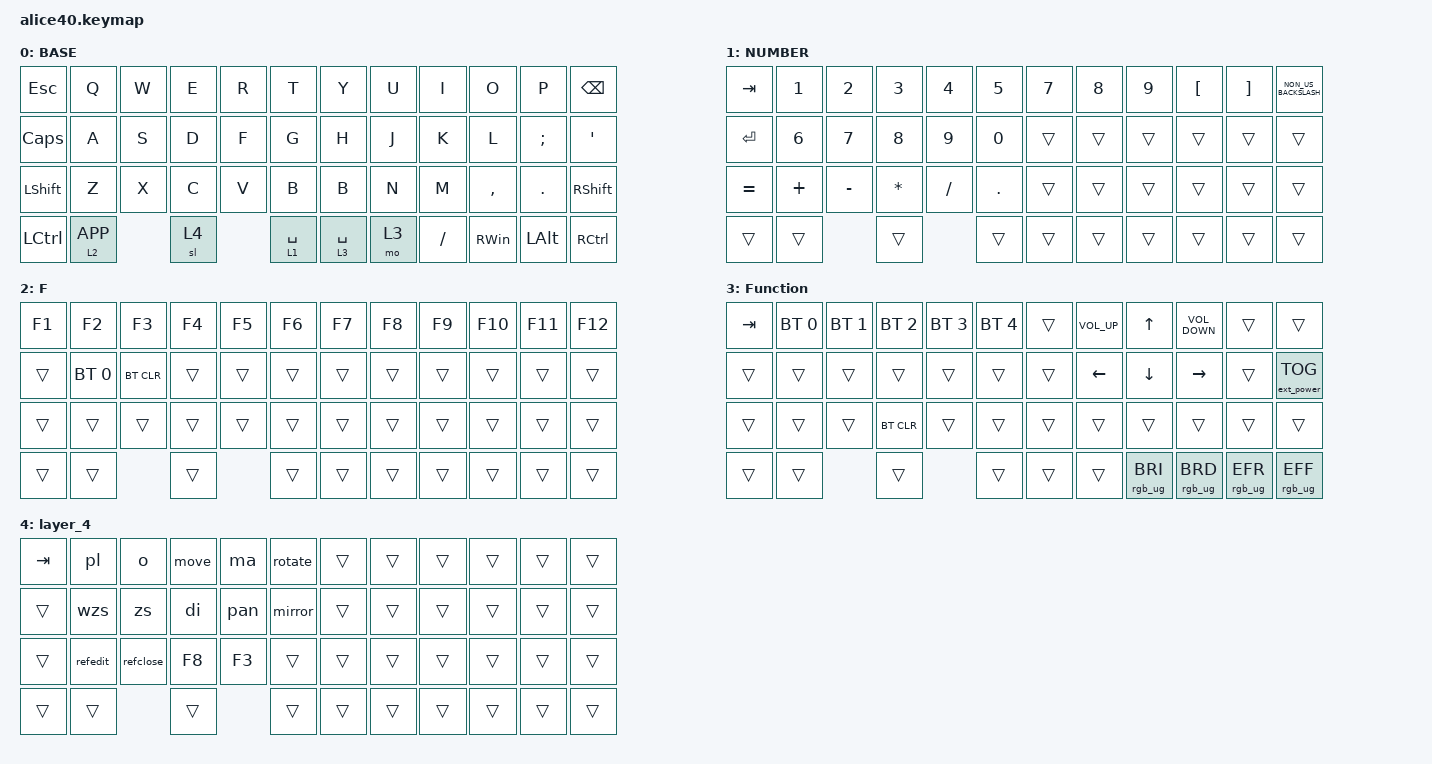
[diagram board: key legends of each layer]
#include <behaviors.dtsi>
#include <dt-bindings/zmk/bt.h>
#include <dt-bindings/zmk/ext_power.h>
#include <dt-bindings/zmk/keys.h>
#include <dt-bindings/zmk/rgb.h>

/ {
    macros {
        pl: pl {
            compatible = "zmk,behavior-macro";
            #binding-cells = <0>;
            bindings = <&kp P &kp L &kp RET>;
            label = "PL";
        };
        o: o {
            compatible = "zmk,behavior-macro";
            #binding-cells = <0>;
            bindings = <&kp O &kp RET>;
            label = "O";
        };
        move: move {
            compatible = "zmk,behavior-macro";
            #binding-cells = <0>;
            bindings = <&kp M &kp RET>;
            label = "MOVE";
        };
        ma: ma {
            compatible = "zmk,behavior-macro";
            #binding-cells = <0>;
            bindings = <&kp M &kp A &kp RET>;
            label = "MA";
        };
        rotate: rotate {
            compatible = "zmk,behavior-macro";
            #binding-cells = <0>;
            bindings = <&kp R &kp O &kp RET>;
            label = "ROTATE";
        };
        wzs: wzs {
            compatible = "zmk,behavior-macro";
            #binding-cells = <0>;
            bindings = <&kp W &kp Z &kp S &kp RET>;
            label = "WZS";
        };
        zs: zs {
            compatible = "zmk,behavior-macro";
            #binding-cells = <0>;
            bindings = <&kp Z &kp S &kp RET>;
            label = "ZS";
        };
        di: di {
            compatible = "zmk,behavior-macro";
            #binding-cells = <0>;
            bindings = <&kp D &kp I &kp RET>;
            label = "DI";
        };
        pan: pan {
            compatible = "zmk,behavior-macro";
            #binding-cells = <0>;
            bindings = <&kp P &kp RET>;
            label = "PAN";
        };
        mirror: mirror {
            compatible = "zmk,behavior-macro";
            #binding-cells = <0>;
            bindings = <&kp M &kp I &kp RET>;
            label = "MIRROR";
        };
        refedit: refedit {
            compatible = "zmk,behavior-macro";
            #binding-cells = <0>;
            bindings = <&kp R &kp E &kp F &kp E &kp D &kp I &kp T &kp RET>;
            label = "REFEDIT";
        };
        refclose: refclose {
            compatible = "zmk,behavior-macro";
            #binding-cells = <0>;
            bindings = <&kp R &kp E &kp F &kp C &kp L &kp O &kp S &kp E &kp RET>;
            label = "REFCLOSE";
        };
    };

    keymap {
        compatible = "zmk,keymap";

        Base_layer {
            label = "BASE";
            bindings = <
&kp ESC       &kp Q        &kp W  &kp E  &kp R  &kp T        &kp Y        &kp U  &kp I      &kp O      &kp P          &kp BACKSPACE
&kp CAPSLOCK  &kp A        &kp S  &kp D  &kp F  &kp G        &kp H        &kp J  &kp K      &kp L      &kp SEMICOLON  &kp SQT
&kp LSHIFT    &kp Z        &kp X  &kp C  &kp V  &kp B        &kp B        &kp N  &kp M      &kp COMMA  &kp DOT        &kp RSHIFT
&kp LCTRL     &lt 2 K_APP         &sl 4         &lt 1 SPACE  &lt 3 SPACE  &mo 3  &kp SLASH  &kp RWIN   &kp LEFT_ALT   &kp RCTRL
            >;
        };

        Number_layer {
            bindings = <
&kp TAB    &kp N1    &kp N2     &kp N3        &kp N4     &kp N5   &kp N7  &kp N8  &kp N9  &kp LEFT_BRACKET  &kp RIGHT_BRACKET  &kp NON_US_BACKSLASH
&kp ENTER  &kp N6    &kp N7     &kp N8        &kp N9     &kp N0   &trans  &trans  &trans  &trans            &trans             &trans
&kp EQUAL  &kp PLUS  &kp MINUS  &kp ASTERISK  &kp SLASH  &kp DOT  &trans  &trans  &trans  &trans            &trans             &trans
&trans     &trans               &trans                   &trans   &trans  &trans  &trans  &trans            &trans             &trans
            >;

            label = "NUMBER";
        };

        F_layer {
            bindings = <
&kp F1  &kp F2        &kp F3      &kp F4  &kp F5  &kp F6  &kp F7  &kp F8  &kp F9  &kp F10  &kp F11  &kp F12
&trans  &bt BT_SEL 0  &bt BT_CLR  &trans  &trans  &trans  &trans  &trans  &trans  &trans   &trans   &trans
&trans  &trans        &trans      &trans  &trans  &trans  &trans  &trans  &trans  &trans   &trans   &trans
&trans  &trans                    &trans          &trans  &trans  &trans  &trans  &trans   &trans   &trans
            >;

            label = "F";
        };

        Function_layer {
            bindings = <
&kp TAB  &bt BT_SEL 0  &bt BT_SEL 1  &bt BT_SEL 2  &bt BT_SEL 3  &bt BT_SEL 4  &trans  &kp C_VOLUME_UP  &kp UP_ARROW     &kp C_VOLUME_DOWN  &trans           &trans
&trans   &trans        &trans        &trans        &trans        &trans        &trans  &kp LEFT         &kp DOWN         &kp RIGHT          &trans           &ext_power EP_TOG
&trans   &trans        &trans        &bt BT_CLR    &trans        &trans        &trans  &trans           &trans           &trans             &trans           &trans
&trans   &trans                      &trans                      &trans        &trans  &trans           &rgb_ug RGB_BRI  &rgb_ug RGB_BRD    &rgb_ug RGB_EFR  &rgb_ug RGB_EFF
            >;

            label = "Function";
        };

        layer_4 {
            bindings = <
&kp TAB  &pl       &o         &move   &ma     &rotate  &trans  &trans  &trans  &trans  &trans  &trans
&trans   &wzs      &zs        &di     &pan    &mirror  &trans  &trans  &trans  &trans  &trans  &trans
&trans   &refedit  &refclose  &kp F8  &kp F3  &trans   &trans  &trans  &trans  &trans  &trans  &trans
&trans   &trans               &trans          &trans   &trans  &trans  &trans  &trans  &trans  &trans
            >;
        };
    };
};
